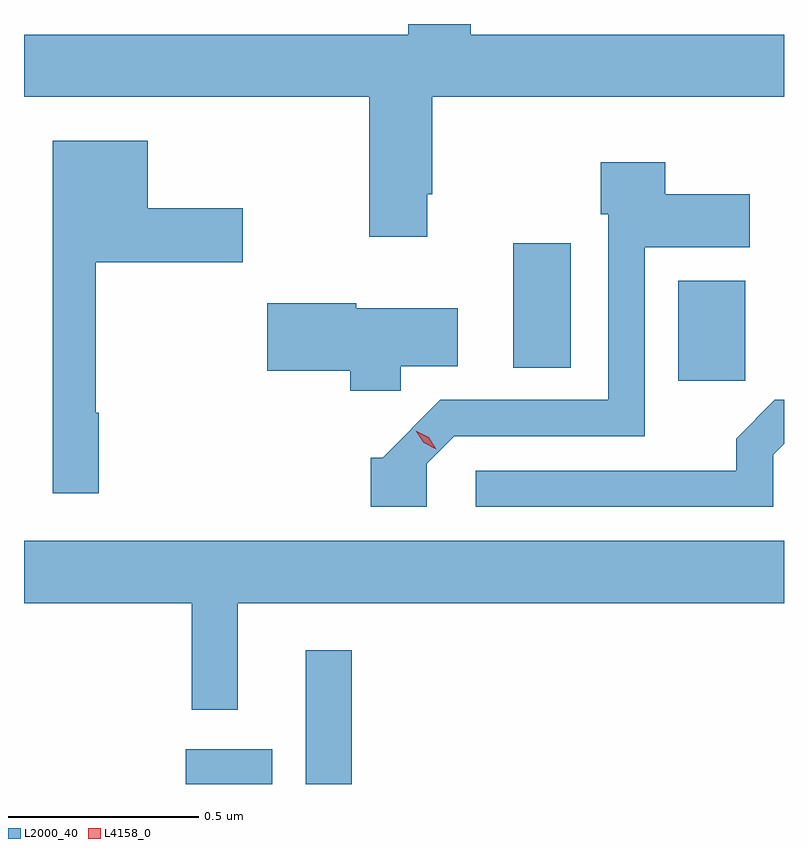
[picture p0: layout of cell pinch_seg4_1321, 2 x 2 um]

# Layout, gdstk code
import gdstk
lib = gdstk.Library(unit=1e-6, precision=1e-09)
def R(c, l, rs):  # rectangles x0, y0, x1, y1
    for r in rs: c.add(gdstk.rectangle(r[:2], r[2:], *l))
def P(c, l, *ps):  # polygons
    for p in ps: c.add(gdstk.Polygon(p, *l))
L2000_40 = (2000, 40)
L4158_0 = (4158, 0)

pinch_seg4_1321 = lib.new_cell('pinch_seg4_1321')
R(pinch_seg4_1321, L2000_40, [(366.05,773.7,366.277,773.791), (366.365,773.7,366.487,774.052), (367.346,774.761,367.522,775.024), (366.911,774.796,367.063,775.123)])
P(pinch_seg4_1321, L2000_40, [(366.635,775.672),(365.624,775.672),(365.624,775.508),(366.533,775.508),(366.533,775.14),(366.685,775.14),(366.685,775.252),(366.698,775.252),(366.698,775.508),(367.624,775.508),(367.624,775.672),(366.8,775.672),(366.8,775.7),(366.635,775.7)],
  [(365.821,774.677),(365.813,774.677),(365.813,775.073),(366.199,775.073),(366.199,775.215),(365.95,775.215),(365.95,775.393),(365.699,775.393),(365.699,774.465),(365.821,774.465)],
  [(366.684,774.543),(366.756,774.615),(367.257,774.615),(367.257,775.112),(367.534,775.112),(367.534,775.252),(367.311,775.252),(367.311,775.336),(367.142,775.336),(367.142,775.2),(367.161,775.2),(367.161,774.711),(366.72,774.711),(366.568,774.559),(366.537,774.559),(366.537,774.429),(366.684,774.429)],
  [(366.615,774.8),(366.766,774.8),(366.766,774.952),(366.498,774.952),(366.498,774.965),(366.264,774.965),(366.264,774.787),(366.482,774.787),(366.482,774.735),(366.615,774.735)],
  [(367.596,774.567),(367.624,774.595),(367.624,774.711),(367.599,774.711),(367.498,774.609),(367.498,774.525),(366.813,774.525),(366.813,774.429),(367.596,774.429)],
  [(366.187,774.176),(367.624,774.176),(367.624,774.34),(365.624,774.34),(365.624,774.176),(366.066,774.176),(366.066,773.895),(366.187,773.895)])
P(pinch_seg4_1321, L4158_0, [(366.709,774.581),(366.676,774.598),(366.655,774.629),(366.655,774.629),(366.655,774.629),(366.689,774.613),(366.709,774.581),(366.709,774.581)])

lib.write_gds('pinch_seg4_1321.gds')
